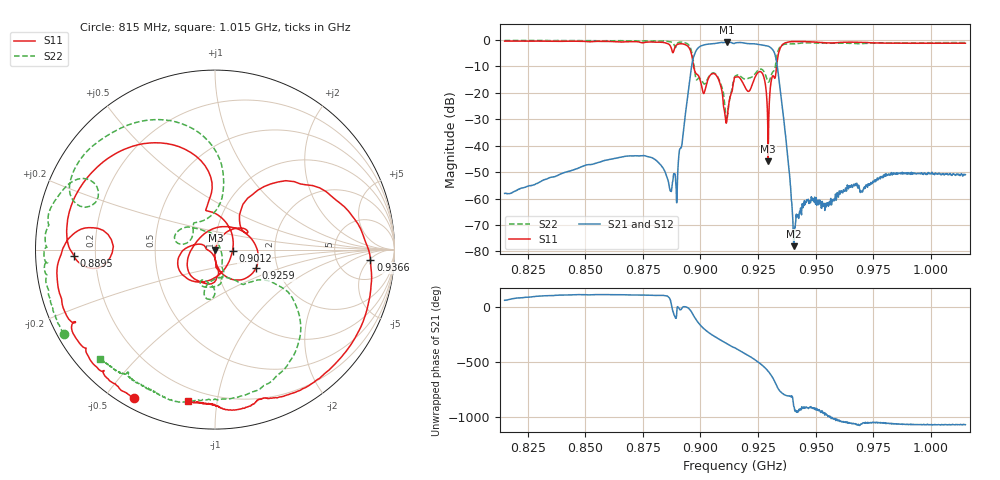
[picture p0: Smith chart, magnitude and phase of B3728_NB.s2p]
! Matrix data file written by TouchstoneData, EPCOS AG
! FILENAME: "B3728_NB.s2p"
! COMMENT: "PINNING 2/5; PCB NEW DCC6C ML; PORTEX 1=85PS"
! INFO: nport=2, nfreq=1601
! DATE: "Thu Sep  3 09:30:56 2009"
! USER: "Sergey Rostovtsev"
! port | pin | signal
!  1  |  2  |  in
!  2  |  5  |  out
# MHZ S MA R 50
! freq  magS11 angS11  magS21 angS21  magS12 angS12  magS22 angS22
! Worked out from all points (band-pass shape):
!   1601 points, 815 MHz to 1.015 GHz, reference 50 ohm
!   highest |S21| = -0.95 dB at 911.6 MHz (marker M1); lowest = -78.0 dB at 940.6 MHz (marker M2)
!   |S21| within 3 dB of the highest: 898.3 MHz to 931.5 MHz (33.25 MHz wide, 3.63 % of centre)
!   lowest |S11| = -45.9 dB at 929.4 MHz (marker M3), VSWR 1.01, Z = 50.2 - j0.466 ohm
!   |S11| at or under -10 dB: 897 MHz to 933.1 MHz (36.06 MHz wide, 3.94 % of centre)
!   |S22| runs from -30.6 to -0.3 dB; largest |S21 - S12| = 0.0038
!   S11 on the Smith chart (normalised r, x): 815 MHz: 0.04, -0.59; 889.5 MHz: 0.12, -0.02; 901.2 MHz: 1.22, -0.01; 925.9 MHz: 1.55, -0.34; 936.6 MHz: 12, -5; 1.015 GHz: 0.13, -0.83
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815  0.9424 -118.5  0.001249 58.3  0.001243 58.1  0.9659 -150.9
848.375  0.9332 -131.2  0.003984 109.9  0.003952 110.0  0.9603 -160.4
881.75  0.8996 -165.4  0.004804 102.6  0.004761 102.4  0.9432 172.9
886.75  0.785 173.1  0.001483 71.4  0.001461 71.3  0.9151 159.5
889.5  0.7864 -177.3  0.001448 -101.5  0.001424 -101.6  0.7598 161.9
893  0.8193 151.8  0.02642 0.7  0.02625 0.7  0.8838 136.5
896.5  0.4369 94.7  0.379 -60.7  0.3776 -60.7  0.508 87.2
898.5  0.2222 102.6  0.6588 -129.0  0.6574 -129.0  0.1758 117.0
901.25  0.09785 -3.5  0.7896 165.5  0.7878 165.4  0.1514 143.7
906  0.2284 -152.7  0.8461 92.1  0.8436 92.1  0.2341 156.1
911.625  0.03454 -102.3  0.8965 23.2  0.8956 23.2  0.03247 -5.5
915  0.196 -103.8  0.866 -13.3  0.8651 -13.3  0.2046 -88.5
921  0.1062 125.6  0.8411 -85.1  0.8403 -85.2  0.1887 -102.4
925.875  0.2512 -24.1  0.8043 -154.6  0.8032 -154.8  0.2784 -95.9
929.375  0.005054 -66.8  0.7556 135.9  0.7544 135.8  0.1596 -86.3
932.375  0.1887 40.0  0.5228 35.6  0.5218 35.5  0.2928 -35.3
934.25  0.621 35.6  0.1562 -37.7  0.1558 -37.9  0.7034 -49.0
936.625  0.8681 -3.7  0.02032 -78.8  0.02022 -79.2  0.8199 -75.3
940.625  0.924 -35.1  0.0001258 173.9  0.0001266 175.7  0.839 -93.4
948.375  0.9095 -61.5  0.0009475 161.0  0.0009418 160.9  0.8675 -110.3
981.75  0.8629 -91.6  0.002836 21.9  0.002827 21.9  0.8691 -129.4
1015  0.8592 -100.3  0.002821 10.9  0.002808 11.3  0.8825 -136.3
